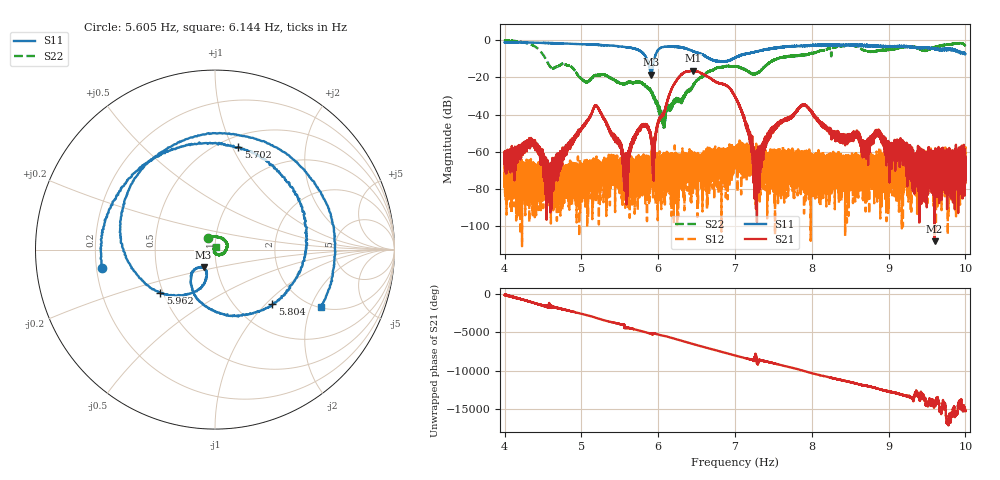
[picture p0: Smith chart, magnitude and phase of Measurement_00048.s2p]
!Created with skrf (http://scikit-rf.org).
# Hz S RI R 50.0
!freq ReS11 ImS11 ReS21 ImS21 ReS12 ImS12 ReS22 ImS22
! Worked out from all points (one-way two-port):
!   14001 points, 4 Hz to 10 Hz, reference 50 ohm
!   highest |S21| = -16.39 dB at 6.451 Hz (marker M1); lowest = -108.0 dB at 9.598 Hz (marker M2)
!   lowest |S11| = -18.6 dB at 5.908 Hz (marker M3), VSWR 1.27, Z = 43.2 - j8.7 ohm
!   |S11| at or under -10 dB: 5.851 Hz to 5.951 Hz (99.55 mHz wide, 1.69 % of centre); 6.676 Hz to 6.966 Hz (289.7 mHz wide, 4.25 % of centre); 6.967213 Hz to 6.968391 Hz (1.178 mHz wide, 0.0169 % of centre) (the widest 3 of 14)
!   |S22| runs from -47.6 to -0.2 dB; largest |S21 - S12| = 0.15
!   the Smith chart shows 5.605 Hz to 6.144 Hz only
!   S11 on the Smith chart (normalised r, x): 5.605 Hz: 0.22, -0.08; 5.702 Hz: 0.61, +1.05; 5.804 Hz: 1.45, -1.10; 5.962 Hz: 0.48, -0.27; 6.144 Hz: 2.05, -2.38
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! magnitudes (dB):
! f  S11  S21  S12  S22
! 4 Hz  -1.2  -64.8  -79.0  -0.2
! 4.361 Hz  -1.3  -55.3  -69.3  -2.7
! 4.592 Hz  -1.6  -75.4  -80.5  -14.2
! 5 Hz  -2.2  -47.6  -67.3  -20.7
! 5.2 Hz  -2.5  -35.4  -69.9  -18.8
! 5.605 Hz  -3.9  -64.2  -74.2  -22.7
! 5.702 Hz  -4.7  -52.7  -69.2  -22.8
! 5.804 Hz  -7.1  -45.9  -68.9  -24.0
! 5.908 Hz  -18.6  -53.1  -59.8  -28.4
! 5.962 Hz  -8.2  -52.2  -65.9  -31.7
! 6 Hz  -5.2  -43.9  -67.7  -34.8
! 6.144 Hz  -3.4  -29.3  -64.8  -36.3
! 6.451 Hz  -6.0  -16.4  -66.4  -24.7
! 7 Hz  -9.4  -30.3  -63.8  -13.9
! 7.284 Hz  -6.1  -63.8  -59.5  -17.7
! 7.516 Hz  -4.2  -46.9  -64.8  -10.7
! 8 Hz  -3.0  -38.2  -64.5  -6.9
! 8.682 Hz  -2.8  -55.9  -66.1  -5.5
! 8.862 Hz  -3.1  -48.8  -82.6  -5.6
! 9 Hz  -3.5  -59.2  -71.3  -5.0
! 9.598 Hz  -4.6  -108.0  -68.0  -3.8
! 10 Hz  -7.4  -71.5  -61.2  -3.1
